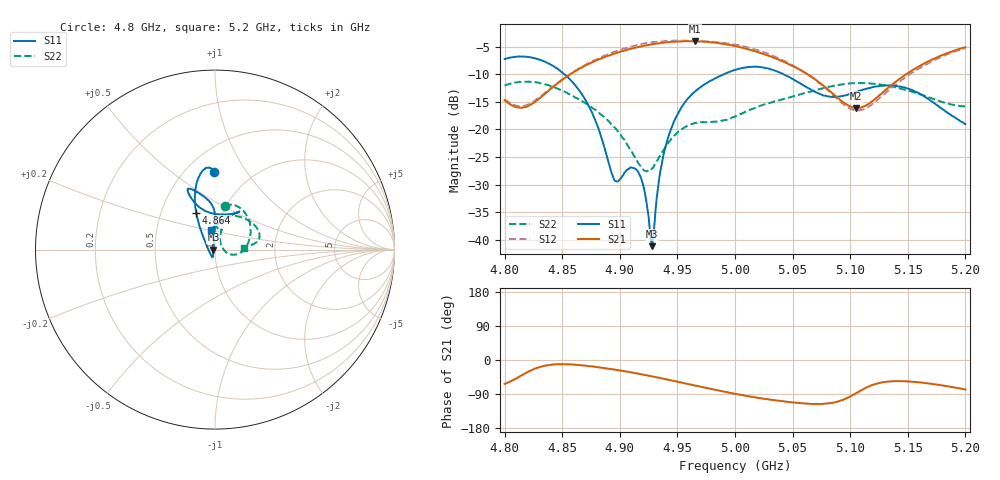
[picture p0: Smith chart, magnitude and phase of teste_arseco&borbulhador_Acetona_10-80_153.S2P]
! Network Analyzer HP8722D
! Hewlett-Packard
! Data name: Linha & Wilkinson
! Saver's name: Rodrigo Anjos
! Comments: Teste da utilização de aquisição
! continua pelo VNA HP8722D
! Time and date: 25/4/2025 16:32
!  Frequency  S11  S21  S12  S22
# HZ  S  MA R 50
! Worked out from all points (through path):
!   401 points, 4.8 GHz to 5.2 GHz, reference 50 ohm
!   highest |S21| = -3.98 dB at 4.965 GHz (marker M1); lowest = -16.1 dB at 5.105 GHz (marker M2)
!   lowest |S11| = -41.1 dB at 4.928 GHz (marker M3), VSWR 1.02, Z = 49.1 + j0.0437 ohm
!   |S11| at or under -10 dB: 4.852 GHz to 4.99 GHz (138 MHz wide, 2.81 % of centre); 5.042 GHz to end of sweep
!   |S22| runs from -27.6 to -11.3 dB; largest |S21 - S12| = 1.2
!   S11 on the Smith chart (normalised r, x): 4.8 GHz: 0.68, +0.73; 4.864 GHz: 0.75, +0.33; 5.2 GHz: 0.94, +0.21
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4.8e9  0.435 90.7  0.184 -63.1  0.1895 70.3  0.2493 76.8
4.82e9  0.4533 97.0  0.1623 -31.6  0.1678 99.1  0.2706 61.3
4.844e9  0.3659 106.9  0.2524 -11.6  0.2554 119.2  0.2389 35.2
4.864e9  0.2317 116.9  0.3515 -13.0  0.3545 120.9  0.1891 11.6
4.867e9  0.2087 118.6  0.3653 -14.0  0.3695 120.5  0.1816 8.2
4.88e9  0.1122 129.3  0.4242 -18.5  0.4344 118.2  0.1472 -5.5
4.895e9  0.03504 -174.4  0.4862 -25.0  0.5046 113.5  0.1058 -15.8
4.91e9  0.04536 -109.3  0.5396 -32.9  0.5655 106.9  0.06381 -13.4
4.917e9  0.03903 -106.2  0.5628 -36.8  0.5903 103.2  0.04795 0.5
4.921e9  0.02936 -111.1  0.5746 -39.0  0.6025 101.0  0.04253 13.9
4.928e9  0.008764 177.1  0.5927 -43.1  0.6177 96.9  0.04456 42.0
4.934e9  0.03465 101.6  0.6022 -47.0  0.6281 93.0  0.05588 58.6
4.939e9  0.06519 94.3  0.6148 -50.0  0.6332 89.8  0.06756 66.3
4.946e9  0.1115 90.6  0.6229 -54.7  0.6376 85.5  0.08459 70.0
4.965e9  0.2202 91.1  0.6324 -67.3  0.6364 73.2  0.1149 71.5
5e9  0.3468 109.0  0.5708 -89.3  0.5895 50.5  0.1313 88.3
5.03e9  0.3538 115.1  0.4625 -104.2  0.4789 33.5  0.1737 85.1
5.067e9  0.2262 105.4  0.2975 -115.8  0.2953 23.7  0.2227 56.7
5.105e9  0.2182 65.4  0.1563 -87.8  0.1487 55.2  0.2625 25.3
5.134e9  0.2505 57.4  0.2437 -56.7  0.229 88.8  0.2473 12.1
5.168e9  0.1885 69.7  0.415 -62.0  0.3989 85.1  0.1958 6.9
5.2e9  0.1118 101.1  0.5558 -77.8  0.546 69.9  0.1615 3.7
